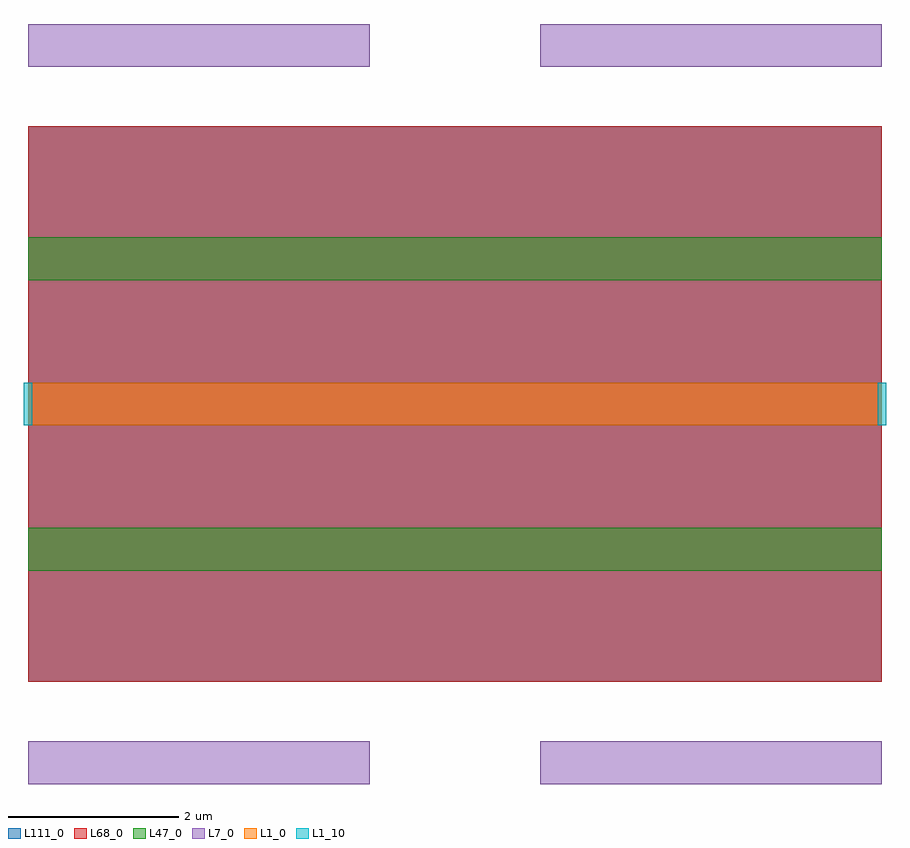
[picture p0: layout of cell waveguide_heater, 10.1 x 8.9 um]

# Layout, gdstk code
import gdstk
lib = gdstk.Library(unit=1e-6, precision=1e-09)
def R(c, l, rs):  # rectangles x0, y0, x1, y1
    for r in rs: c.add(gdstk.rectangle(r[:2], r[2:], *l))
L1_0 = (1, 0)
L1_10 = (1, 10)
L7_0 = (7, 0)
L47_0 = (47, 0)
L68_0 = (68, 0)
L111_0 = (111, 0)

waveguide_heater = lib.new_cell('waveguide_heater')
R(waveguide_heater, L1_0, [(0,-0.25,10,0.25)])
R(waveguide_heater, L1_10, [(-0.05,-0.25,0.05,0.25), (9.95,-0.25,10.05,0.25)])
R(waveguide_heater, L7_0, [(0,-4.45,4,-3.95), (6,-4.45,10,-3.95), (0,3.95,4,4.45), (6,3.95,10,4.45)])
R(waveguide_heater, L47_0, [(0,-1.95,10,-1.45), (0,1.45,10,1.95)])
R(waveguide_heater, L68_0, [(0,-3.25,10,3.25)])
R(waveguide_heater, L111_0, [(0,-3.25,10,3.25)])

lib.write_gds('waveguide_heater.gds')
